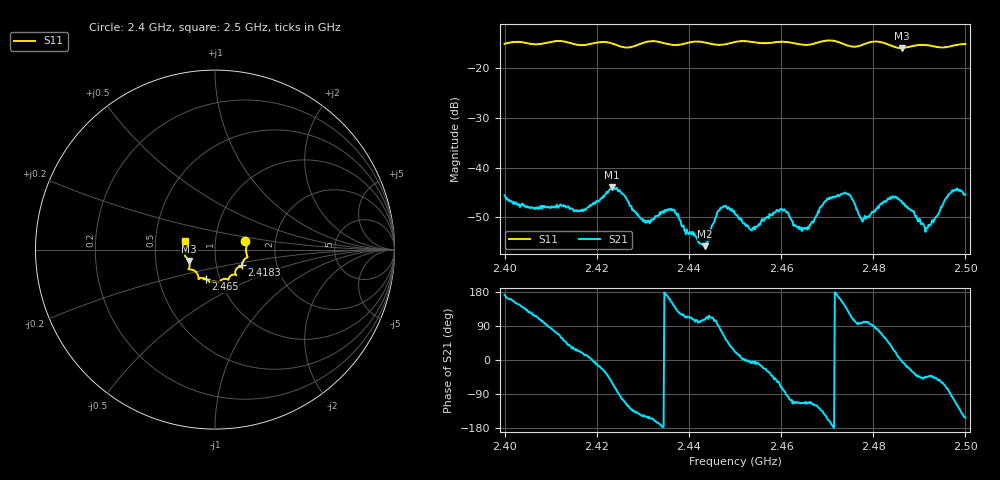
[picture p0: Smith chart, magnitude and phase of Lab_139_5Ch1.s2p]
# Hz S RI R 50
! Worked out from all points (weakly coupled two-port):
!   601 points, 2.4 GHz to 2.5 GHz, reference 50 ohm
!   highest |S21| = -43.96 dB at 2.4233 GHz (marker M1); lowest = -55.8 dB at 2.4435 GHz (marker M2)
!   lowest |S11| = -16.0 dB at 2.4862 GHz (marker M3), VSWR 1.38, Z = 37.1 - j4.82 ohm
!   |S11| at or under -10 dB: start of sweep to end of sweep
!   S12 and S22 are empty: the file has one direction only
!   S11 on the Smith chart (normalised r, x): 2.4 GHz: 1.40, +0.13; 2.4183 GHz: 1.33, -0.24; 2.465 GHz: 0.86, -0.29; 2.5 GHz: 0.71, +0.07
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2.4e9  0.1689 0.0457  -0.0052 0.000772  0 0  0 0
2.416667e9  0.1549 -0.0684  0.00345 0.00128  0 0  0 0
2.418333e9  0.1497 -0.0869  0.00399 0.000582  0 0  0 0
2.423333e9  0.1472 -0.0971  0.00314 -0.00551  0 0  0 0
2.43e9  0.1138 -0.1371  -0.00247 -0.00152  0 0  0 0
2.433333e9  0.1167 -0.1413  -0.00319 -0.000817  0 0  0 0
2.436667e9  0.093 -0.1426  -0.00307 0.00218  0 0  0 0
2.4435e9  0.0703 -0.1655  -0.000454 0.00156  0 0  0 0
2.446667e9  0.0466 -0.1642  0.000339 0.0037  0 0  0 0
2.45e9  0.0252 -0.1808  0.00316 0.00123  0 0  0 0
2.453833e9  0.0149 -0.1815  0.00247 -0.000192  0 0  0 0
2.460333e9  -0.0286 -0.1811  0.000847 -0.00358  0 0  0 0
2.465e9  -0.0527 -0.1622  -0.000955 -0.00226  0 0  0 0
2.466667e9  -0.0713 -0.1577  -0.00123 -0.00255  0 0  0 0
2.469833e9  -0.0921 -0.1641  -0.00401 -0.0024  0 0  0 0
2.4735e9  -0.0938 -0.1471  -0.0047 0.00281  0 0  0 0
2.477833e9  -0.1311 -0.1113  -0.000552 0.00298  0 0  0 0
2.483333e9  -0.142 -0.096  0.00334 0.00346  0 0  0 0
2.486167e9  -0.1448 -0.0634  0.0046 -0.000167  0 0  0 0
2.491667e9  -0.167 -0.0297  0.00177 -0.00172  0 0  0 0
2.496833e9  -0.1631 0.0258  -3.88e-05 -0.00559  0 0  0 0
2.5e9  -0.1667 0.0472  -0.00473 -0.00246  0 0  0 0
